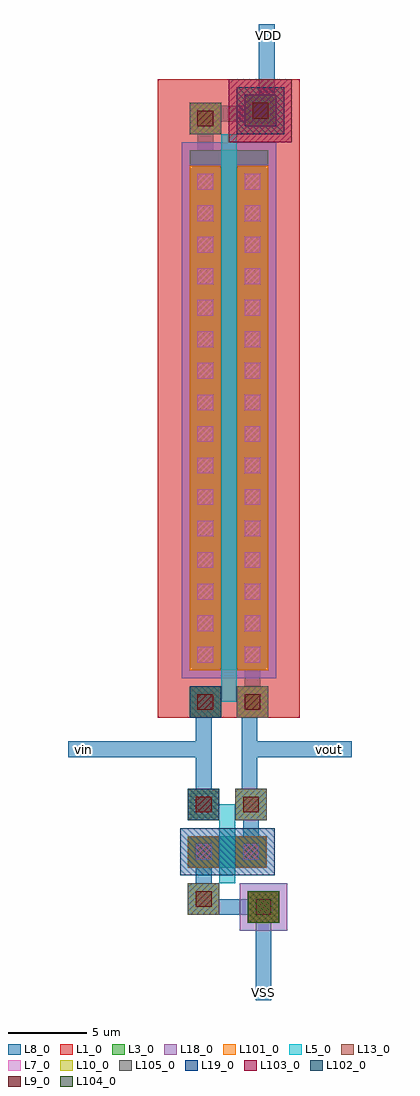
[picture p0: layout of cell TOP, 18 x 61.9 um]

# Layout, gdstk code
import gdstk
lib = gdstk.Library(unit=1e-6, precision=1e-07)
def R(c, l, rs):  # rectangles x0, y0, x1, y1
    for r in rs: c.add(gdstk.rectangle(r[:2], r[2:], *l))
L1_0 = (1, 0)
L3_0 = (3, 0)
L5_0 = (5, 0)
L7_0 = (7, 0)
L8_0 = (8, 0)
L9_0 = (9, 0)
L10_0 = (10, 0)
L13_0 = (13, 0)
L18_0 = (18, 0)
L19_0 = (19, 0)
L101_0 = (101, 0)
L102_0 = (102, 0)
L103_0 = (103, 0)
L104_0 = (104, 0)
L105_0 = (105, 0)

dcont = lib.new_cell('dcont')
R(dcont, L3_0, [(-1,-1,1,1)])
R(dcont, L7_0, [(-0.5,-0.5,0.5,0.5)])
R(dcont, L8_0, [(-1,-1,1,1)])
R(dcont, L13_0, [(-0.5,-0.5,0.5,0.5)])
R(dcont, L101_0, [(-1,-1,1,1)])

pcont = lib.new_cell('pcont')
R(pcont, L5_0, [(-1,-1,1,1)])
R(pcont, L7_0, [(-0.5,-0.5,0.5,0.5)])
R(pcont, L8_0, [(-1,-1,1,1)])
R(pcont, L13_0, [(-0.5,-0.5,0.5,0.5)])
R(pcont, L102_0, [(-1,-1,1,1)])

via = lib.new_cell('Via')
R(via, L8_0, [(-1,-1,1,1)])
R(via, L9_0, [(-0.5,-0.5,0.5,0.5)])
R(via, L10_0, [(-1,-1,1,1)])
R(via, L13_0, [(-0.5,-0.5,0.5,0.5)])
R(via, L105_0, [(-1,-1,1,1)])

dcont1 = lib.new_cell('dcont1')
R(dcont1, L3_0, [(-1,-1,1,1)])
R(dcont1, L7_0, [(-0.5,-0.5,0.5,0.5)])
R(dcont1, L8_0, [(-1,-1,1,1)])
R(dcont1, L13_0, [(-0.5,-0.5,0.5,0.5)])
R(dcont1, L101_0, [(-1,-1,1,1)])

psubcont = lib.new_cell('psubcont')
R(psubcont, L18_0, [(-1.5,-1.5,1.5,1.5)])
R(psubcont, L104_0, [(-1,-1,1,1)])
psubcont.add(gdstk.Reference(dcont1, (0,0)))

nch_1 = lib.new_cell('Nch$1')
R(nch_1, L3_0, [(0,3,5,5)])
R(nch_1, L19_0, [(-0.5,2.5,5.5,5.5)])
nch_1.add(gdstk.FlexPath([(1,3),(1,5)], 2, ends="flush", simple_path=True, layer=8, datatype=0))  # L8_0
nch_1.add(gdstk.FlexPath([(4,3),(4,5)], 2, ends="flush", simple_path=True, layer=8, datatype=0))  # L8_0
nch_1.add(gdstk.FlexPath([(1,1),(1,4)], 1, ends="flush", simple_path=True, layer=8, datatype=0))  # L8_0
nch_1.add(gdstk.FlexPath([(4,4),(4,7)], 1, ends="flush", simple_path=True, layer=8, datatype=0))  # L8_0
nch_1.add(gdstk.FlexPath([(2.5,3),(2.5,5)], 1, ends=(1, 1), simple_path=True, layer=5, datatype=0))  # L5_0
nch_1.add(gdstk.FlexPath([(1,6.5),(2.5,6.5),(2.5,6)], 1, ends="flush", simple_path=True, layer=5, datatype=0))  # L5_0
nch_1.add(gdstk.Reference(dcont, (1,4)))
nch_1.add(gdstk.Reference(dcont, (4,4)))
nch_1.add(gdstk.Reference(pcont, (1,7)))
nch_1.add(gdstk.Reference(via, (1,7)))
nch_1.add(gdstk.Reference(via, (1,1)))
nch_1.add(gdstk.Reference(via, (4,7)))
nch_1.add(gdstk.Reference(psubcont, (4.8,0.5)))
nch_1.add(gdstk.Reference(via, (4.8,0.5)))

nsubcont = lib.new_cell('nsubcont')
R(nsubcont, L1_0, [(-2,-2,2,2)])
R(nsubcont, L19_0, [(-1.5,-1.5,1.5,1.5)])
R(nsubcont, L103_0, [(-2,-2,2,2)])
nsubcont.add(gdstk.Reference(dcont1, (0,0)))

pch_1 = lib.new_cell('Pch$1')
R(pch_1, L1_0, [(-2,0,7,40.5)])
R(pch_1, L3_0, [(0,3,5,36)])
R(pch_1, L18_0, [(-0.5,2.5,5.5,36.5)])
pch_1.add(gdstk.FlexPath([(1,3),(1,36)], 2, ends="flush", simple_path=True, layer=8, datatype=0))  # L8_0
pch_1.add(gdstk.FlexPath([(4,3),(4,36)], 2, ends="flush", simple_path=True, layer=8, datatype=0))  # L8_0
pch_1.add(gdstk.FlexPath([(1,35),(1,38)], 1, ends="flush", simple_path=True, layer=8, datatype=0))  # L8_0
pch_1.add(gdstk.FlexPath([(4,1),(4,4)], 1, ends="flush", simple_path=True, layer=8, datatype=0))  # L8_0
pch_1.add(gdstk.FlexPath([(2.5,3),(2.5,36)], 1, ends=(1, 1), simple_path=True, layer=5, datatype=0))  # L5_0
pch_1.add(gdstk.FlexPath([(1,1.5),(2.5,1.5),(2.5,2)], 1, ends="flush", simple_path=True, layer=5, datatype=0))  # L5_0
pch_1.add(gdstk.Reference(dcont, (1,4)))
pch_1.add(gdstk.Reference(dcont, (1,6)))
pch_1.add(gdstk.Reference(dcont, (1,8)))
pch_1.add(gdstk.Reference(dcont, (1,10)))
pch_1.add(gdstk.Reference(dcont, (1,12)))
pch_1.add(gdstk.Reference(dcont, (1,14)))
pch_1.add(gdstk.Reference(dcont, (1,16)))
pch_1.add(gdstk.Reference(dcont, (1,18)))
pch_1.add(gdstk.Reference(dcont, (1,20)))
pch_1.add(gdstk.Reference(dcont, (1,22)))
pch_1.add(gdstk.Reference(dcont, (1,24)))
pch_1.add(gdstk.Reference(dcont, (1,26)))
pch_1.add(gdstk.Reference(dcont, (1,28)))
pch_1.add(gdstk.Reference(dcont, (1,30)))
pch_1.add(gdstk.Reference(dcont, (1,32)))
pch_1.add(gdstk.Reference(dcont, (1,34)))
pch_1.add(gdstk.Reference(dcont, (4,4)))
pch_1.add(gdstk.Reference(dcont, (4,6)))
pch_1.add(gdstk.Reference(dcont, (4,8)))
pch_1.add(gdstk.Reference(dcont, (4,10)))
pch_1.add(gdstk.Reference(dcont, (4,12)))
pch_1.add(gdstk.Reference(dcont, (4,14)))
pch_1.add(gdstk.Reference(dcont, (4,16)))
pch_1.add(gdstk.Reference(dcont, (4,18)))
pch_1.add(gdstk.Reference(dcont, (4,20)))
pch_1.add(gdstk.Reference(dcont, (4,22)))
pch_1.add(gdstk.Reference(dcont, (4,24)))
pch_1.add(gdstk.Reference(dcont, (4,26)))
pch_1.add(gdstk.Reference(dcont, (4,28)))
pch_1.add(gdstk.Reference(dcont, (4,30)))
pch_1.add(gdstk.Reference(dcont, (4,32)))
pch_1.add(gdstk.Reference(dcont, (4,34)))
pch_1.add(gdstk.Reference(pcont, (1,1)))
pch_1.add(gdstk.Reference(via, (1,1)))
pch_1.add(gdstk.Reference(via, (1,38)))
pch_1.add(gdstk.Reference(via, (4,1)))
pch_1.add(gdstk.Reference(nsubcont, (4.5,38.5)))
pch_1.add(gdstk.Reference(via, (4.5,38.5)))

top = lib.new_cell('TOP')
top.add(gdstk.FlexPath([(12.6,41.3),(9.2,41.3),(9.2,40.8)], 1, ends="flush", simple_path=True, layer=8, datatype=0))  # L8_0
top.add(gdstk.FlexPath([(12.6,41.3),(12.6,47)], 1, ends="flush", simple_path=True, layer=8, datatype=0))  # L8_0
top.add(gdstk.FlexPath([(11.5,4),(11.5,-3),(11.5,-3)], 1, ends="extended", simple_path=True, layer=8, datatype=0))  # L8_0
top.add(gdstk.FlexPath([(8.6,3.7),(8.6,-2.6),(8.6,-2.6)], 1, ends="extended", simple_path=True, layer=8, datatype=0))  # L8_0
top.add(gdstk.FlexPath([(0,1),(8.6,1)], 1, ends="flush", simple_path=True, layer=8, datatype=0))  # L8_0
top.add(gdstk.FlexPath([(18,1),(11.5,1),(11.5,0.5)], 1, ends="flush", simple_path=True, layer=8, datatype=0))  # L8_0
top.add(gdstk.FlexPath([(8.6,-8.5),(8.6,-9),(12.4,-9),(12.4,-14.9)], 1, ends="flush", simple_path=True, layer=8, datatype=0))  # L8_0
top.add(gdstk.Reference(nch_1, (7.6,-9.5)))
top.add(gdstk.Reference(pch_1, (7.7,3)))
top.add(gdstk.Label('VDD', (12.7,46.3), layer=8, texttype=0))
top.add(gdstk.Label('vin', (1,1), layer=8, texttype=0))
top.add(gdstk.Label('vout', (16.6,1), layer=8, texttype=0))
top.add(gdstk.Label('VSS', (12.4,-14.4), layer=8, texttype=0))

lib.write_gds('TOP.gds')
